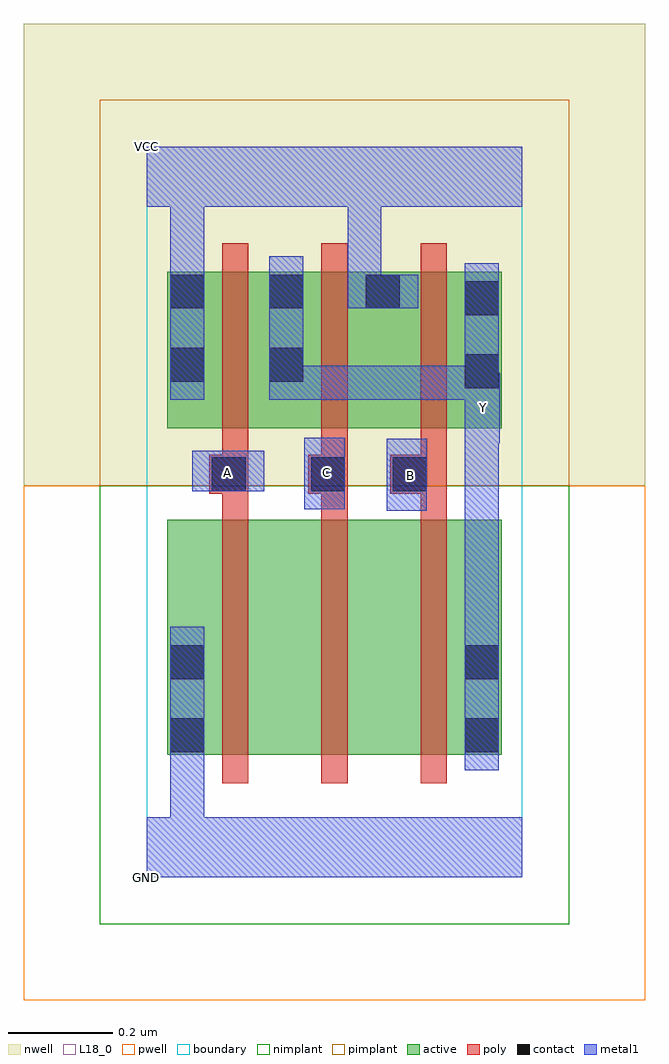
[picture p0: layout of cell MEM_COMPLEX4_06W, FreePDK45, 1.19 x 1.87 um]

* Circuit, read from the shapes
.subckt MEM_COMPLEX4_06W A B C GND VCC Y
M1 n1 A GND VSUBS nfet w=0.45u l=0.05u
M2 n2 C n1 VSUBS nfet w=0.45u l=0.05u
M3 Y B n2 VSUBS nfet w=0.45u l=0.05u
M4 Y A VCC n3 pfet w=0.3u l=0.05u
M5 VCC C Y n3 pfet w=0.3u l=0.05u
M6 Y B VCC n3 pfet w=0.3u l=0.05u
.ends

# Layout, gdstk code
import gdstk
lib = gdstk.Library(unit=1e-6, precision=1e-09)
def R(c, l, rs):  # rectangles x0, y0, x1, y1
    for r in rs: c.add(gdstk.rectangle(r[:2], r[2:], *l))
def A(c, l, x, y, w, h, nx, ny, dx, dy):  # array of equal rectangles
    R(c, l, [(x+i*dx, y+j*dy, x+i*dx+w, y+j*dy+h) for i in range(nx) for j in range(ny)])
active = (1, 0)
pwell = (2, 0)
nwell = (3, 0)
nimplant = (4, 0)
pimplant = (5, 0)
poly = (9, 0)
contact = (10, 0)
metal1 = (11, 0)
L18_0 = (18, 0)
boundary = (235, 0)

mem_complex4_06w = lib.new_cell('MEM_COMPLEX4_06W')
R(mem_complex4_06w, active, [(0.04,0.235,0.115,0.685), (0.04,0.235,0.265,0.685), (0.265,0.235,0.455,0.685), (0.455,0.235,0.68,0.685), (0.605,0.235,0.68,0.685), (0.04,0.86,0.115,1.16), (0.04,0.86,0.305,1.16), (0.23,0.86,0.305,1.16), (0.23,0.86,0.49,1.16), (0.415,0.86,0.68,1.16), (0.605,0.86,0.68,1.16), (0.415,0.887,0.49,1.16)])
R(mem_complex4_06w, pwell, [(-0.235,-0.235,0.955,0.75)])
R(mem_complex4_06w, nwell, [(-0.235,0.75,0.955,1.635)])
R(mem_complex4_06w, nimplant, [(-0.09,-0.09,0.81,0.75)])
R(mem_complex4_06w, pimplant, [(-0.09,0.75,0.81,1.49)])
A(mem_complex4_06w, poly, 0.145, 0.18, 0.05, 0.56, 3, 1, 0.19, 0)
A(mem_complex4_06w, poly, 0.145, 0.69, 0.05, 0.095, 3, 2, 0.19, 0.07)
A(mem_complex4_06w, poly, 0.145, 0.805, 0.05, 0.41, 3, 1, 0.19, 0)
R(mem_complex4_06w, poly, [(0.12,0.735,0.195,0.81), (0.31,0.735,0.385,0.81), (0.467,0.735,0.575,0.81)])
R(mem_complex4_06w, contact, [(0.045,0.24,0.11,0.305), (0.61,0.24,0.675,0.305), (0.045,0.38,0.11,0.445), (0.61,0.38,0.675,0.445), (0.125,0.74,0.19,0.805), (0.315,0.74,0.38,0.805), (0.472,0.74,0.537,0.805), (0.61,0.937,0.675,1.002), (0.045,0.95,0.11,1.015), (0.235,0.95,0.3,1.015), (0.61,1.077,0.675,1.142), (0.045,1.09,0.11,1.155), (0.235,1.09,0.3,1.155), (0.42,1.09,0.485,1.155)])
R(mem_complex4_06w, metal1, [(0,0,0.72,0.115), (0.045,0.05,0.11,0.115), (0.045,0.05,0.11,0.115), (0.045,0.05,0.11,0.27), (0.045,0.205,0.11,0.48), (0.61,0.205,0.675,0.48), (0.61,0.415,0.675,0.897), (0.46,0.702,0.537,0.84), (0.302,0.705,0.38,0.842), (0.087,0.74,0.225,0.817), (0.61,0.832,0.677,0.967), (0.61,0.902,0.675,0.967), (0.61,0.902,0.675,1.177), (0.045,0.915,0.11,1.19), (0.235,0.915,0.3,0.98), (0.235,0.915,0.3,0.98), (0.235,0.915,0.3,1.19), (0.235,0.915,0.537,0.98), (0.472,0.915,0.537,0.98), (0.472,0.915,0.675,0.98), (0.61,0.915,0.675,0.98), (0.61,0.915,0.675,0.98), (0.385,1.09,0.45,1.35), (0.385,1.09,0.52,1.155), (0.045,1.125,0.11,1.35), (0,1.285,0.72,1.4), (0.045,1.285,0.11,1.35), (0.045,1.285,0.11,1.35), (0.385,1.285,0.45,1.35), (0.385,1.285,0.45,1.35)])
R(mem_complex4_06w, L18_0, [(0,0,0.72,0.115), (0.045,0.05,0.11,0.115), (0.045,0.05,0.11,0.115), (0.045,0.05,0.11,0.27), (0.045,0.205,0.11,0.48), (0.61,0.205,0.675,0.48), (0.61,0.415,0.675,0.897), (0.46,0.702,0.537,0.84), (0.302,0.705,0.38,0.842), (0.472,0.737,0.537,0.802), (0.087,0.74,0.225,0.817), (0.122,0.742,0.187,0.807), (0.312,0.742,0.377,0.807), (0.61,0.832,0.677,0.967), (0.612,0.867,0.677,0.932), (0.61,0.902,0.675,0.967), (0.61,0.902,0.675,1.177), (0.045,0.915,0.11,1.19), (0.235,0.915,0.3,0.98), (0.235,0.915,0.3,0.98), (0.235,0.915,0.3,1.19), (0.235,0.915,0.537,0.98), (0.472,0.915,0.537,0.98), (0.472,0.915,0.675,0.98), (0.61,0.915,0.675,0.98), (0.61,0.915,0.675,0.98), (0.385,1.09,0.52,1.155), (0.385,1.09,0.45,1.35), (0.045,1.125,0.11,1.35), (0,1.285,0.72,1.4), (0.045,1.285,0.11,1.35), (0.045,1.285,0.11,1.35), (0.385,1.285,0.45,1.35), (0.385,1.285,0.45,1.35)])
R(mem_complex4_06w, boundary, [(0,0,0.72,1.4)])
mem_complex4_06w.add(gdstk.Label('A', (0.155,0.775), layer=11, texttype=0))
mem_complex4_06w.add(gdstk.Label('B', (0.505,0.77), layer=11, texttype=0))
mem_complex4_06w.add(gdstk.Label('C', (0.345,0.775), layer=11, texttype=0))
mem_complex4_06w.add(gdstk.Label('Y', (0.645,0.9), layer=11, texttype=0))
mem_complex4_06w.add(gdstk.Label('VCC', (0,1.4), layer=11, texttype=0))
mem_complex4_06w.add(gdstk.Label('GND', (0,0), layer=11, texttype=0))

lib.write_gds('MEM_COMPLEX4_06W.gds')
